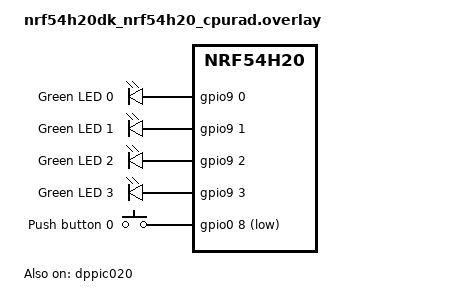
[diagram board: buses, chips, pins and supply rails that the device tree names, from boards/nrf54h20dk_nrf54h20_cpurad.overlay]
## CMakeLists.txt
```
#
# Copyright (c) 2025 Nordic Semiconductor
#
# SPDX-License-Identifier: LicenseRef-Nordic-5-Clause
#
cmake_minimum_required(VERSION 3.20.0)

find_package(Zephyr REQUIRED HINTS $ENV{ZEPHYR_BASE})
project(esb_prx_ble)

# NORDIC SDK APP START
target_sources(app PRIVATE
  src/main.c
)
# NORDIC SDK APP END
```

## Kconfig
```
#
# Copyright (c) 2025 Nordic Semiconductor
#
# SPDX-License-Identifier: LicenseRef-Nordic-5-Clause
#

menu "Enhanced ShockBurst: Receiver with BLE"

module = ESB_PRX_BLE
module-str = "ESB_PRX_BLE"
source "$(ZEPHYR_BASE)/subsys/logging/Kconfig.template.log_config"

endmenu

source "Kconfig.zephyr"
```

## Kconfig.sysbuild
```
#
# Copyright (c) 2025 Nordic Semiconductor ASA
#
# SPDX-License-Identifier: LicenseRef-Nordic-5-Clause
#

config NRF_DEFAULT_EMPTY
	default y if SOC_SERIES_NRF53

source "share/sysbuild/Kconfig"
```

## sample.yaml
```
sample:
  name: ESB prx BLE Sample
common:
  harness: console
  harness_config:
    type: multi_line
    ordered: true
    regex:
      - "Starting Enhanced ShockBurst prx with Peripheral LBS sample"
      - "Bluetooth initialized"
      - "Advertising successfully started"
      - "ESB initialized"
  timeout: 15

tests:
  sample.esb.prx.ble.build:
    sysbuild: true
    integration_platforms:
      - nrf52dk/nrf52832
      - nrf52833dk/nrf52833
      - nrf52840dk/nrf52840
      - nrf54h20dk/nrf54h20/cpurad
      - nrf54l15dk/nrf54l05/cpuapp
      - nrf54l15dk/nrf54l10/cpuapp
      - nrf54l15dk/nrf54l15/cpuapp
      - nrf54lm20dk/nrf54lm20a/cpuapp
      - nrf54ls05dk/nrf54ls05a/cpuapp
      - nrf54lc10dk/nrf54lc10a/cpuapp
    platform_allow:
      - nrf52dk/nrf52832
      - nrf52833dk/nrf52833
      - nrf52840dk/nrf52840
      - nrf54h20dk/nrf54h20/cpurad
      - nrf54l15dk/nrf54l05/cpuapp
      - nrf54l15dk/nrf54l10/cpuapp
      - nrf54l15dk/nrf54l15/cpuapp
      - nrf54lm20dk/nrf54lm20a/cpuapp
      - nrf54lm20dk/nrf54lm20b/cpuapp
      - nrf54ls05dk/nrf54ls05a/cpuapp
      - nrf54ls05dk/nrf54ls05b/cpuapp
      - nrf54lc10dk/nrf54lc10a/cpuapp
      - nrf54lc10dk/nrf54lc10a/cpuapp/ns
    tags:
      - esb
      - ci_build
      - sysbuild
      - ci_samples_esb
```

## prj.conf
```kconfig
#
# Copyright (c) 2025 Nordic Semiconductor ASA
#
# SPDX-License-Identifier: LicenseRef-Nordic-5-Clause
#
CONFIG_NCS_SAMPLES_DEFAULTS=y
CONFIG_ESB=y
CONFIG_DK_LIBRARY=y
CONFIG_CLOCK_CONTROL=y
CONFIG_ESB_CLOCK_INIT=y

CONFIG_ESB_MPSL_TIMESLOT=y
CONFIG_MPSL_TIMESLOT_SESSION_COUNT=2

CONFIG_BT=y
CONFIG_BT_PERIPHERAL=y
CONFIG_BT_DEVICE_NAME="Nordic_LBS"

# Enable the LBS service
CONFIG_BT_LBS=y
CONFIG_BT_LBS_POLL_BUTTON=y
CONFIG_BT_GATT_CLIENT=y
CONFIG_SYSTEM_WORKQUEUE_STACK_SIZE=2048

# Bluetooth LE configuration
# Adjust connection parameters to your needs
CONFIG_BT_PERIPHERAL_PREF_MIN_INT=800
CONFIG_BT_PERIPHERAL_PREF_MAX_INT=800
CONFIG_BT_PERIPHERAL_PREF_LATENCY=0
CONFIG_BT_PERIPHERAL_PREF_TIMEOUT=400

# Enable DEBUG level logging
CONFIG_ESB_PRX_BLE_LOG_LEVEL_DBG=y
```

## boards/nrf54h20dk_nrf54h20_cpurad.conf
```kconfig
#
# Copyright (c) 2025 Nordic Semiconductor
#
# SPDX-License-Identifier: LicenseRef-Nordic-5-Clause
#

# Disable legacy GPPI as it does not support channel allocation
```

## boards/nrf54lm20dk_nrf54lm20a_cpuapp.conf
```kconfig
#
# Copyright (c) 2025 Nordic Semiconductor
#
# SPDX-License-Identifier: LicenseRef-Nordic-5-Clause
#

# Enable DPPI driver
CONFIG_NRFX_DPPI10=y
```

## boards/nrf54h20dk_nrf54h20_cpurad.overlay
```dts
/*
 * Copyright (c) 2025 Nordic Semiconductor ASA
 *
 * SPDX-License-Identifier: LicenseRef-Nordic-5-Clause
 */

/ {
	leds {
		compatible = "gpio-leds";

		led0: led_0 {
			gpios = <&gpio9 0 GPIO_ACTIVE_HIGH>;
			label = "Green LED 0";
		};

		led1: led_1 {
			gpios = <&gpio9 1 GPIO_ACTIVE_HIGH>;
			label = "Green LED 1";
		};

		led2: led_2 {
			gpios = <&gpio9 2 GPIO_ACTIVE_HIGH>;
			label = "Green LED 2";
		};

		led3: led_3 {
			gpios = <&gpio9 3 GPIO_ACTIVE_HIGH>;
			label = "Green LED 3";
		};
	};

	buttons {
		compatible = "gpio-keys";

		button0: button_0 {
			gpios = <&gpio0 8 (GPIO_PULL_UP | GPIO_ACTIVE_LOW)>;
			label = "Push button 0";
			zephyr,code = <INPUT_KEY_0>;
		};
	};

	aliases {
		led0 = &led0;
		led1 = &led1;
		led2 = &led2;
		led3 = &led3;

		sw0 = &button0;
	};

	cpurad_cpusys_errata216_mboxes: errata216_mboxes {
		compatible = "zephyr,mbox-ipm";
		status = "okay";
		mboxes = <&cpusys_vevif 0x14>, <&cpusys_vevif 0x15>;
		mbox-names = "on_req", "off_req";
	};
};

&gpio9 {
	status = "okay";
};

&gpio0 {
	status = "okay";
};

&gpiote130 {
	owned-channels = <0 1 2 3 4 5 6 7>;
	status = "okay";
};

&dppic020 {
	status = "okay";
	source-channels = <0 1 2 3 4 5>;
	sink-channels = <6 7 8 9 10 11>;
};
```

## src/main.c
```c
/*
 * Copyright (c) 2025 Nordic Semiconductor ASA
 *
 * SPDX-License-Identifier: LicenseRef-Nordic-5-Clause
 */

#include <zephyr/bluetooth/bluetooth.h>
#include <zephyr/bluetooth/conn.h>
#include <zephyr/bluetooth/gatt.h>
#include <zephyr/bluetooth/hci.h>
#include <zephyr/kernel.h>
#include <zephyr/logging/log.h>

#include <bluetooth/services/lbs.h>
#include <dk_buttons_and_leds.h>
#include <esb.h>

LOG_MODULE_REGISTER(esb_prx_ble, CONFIG_ESB_PRX_BLE_LOG_LEVEL);

#define DEVICE_NAME             CONFIG_BT_DEVICE_NAME
#define DEVICE_NAME_LEN         (sizeof(DEVICE_NAME) - 1)

#define CON_STATUS_LED          DK_LED1
#define USER_LED                DK_LED2
#define ESB_LED_1               DK_LED3
#define ESB_LED_2               DK_LED4
#define USER_BUTTON             DK_BTN1_MSK

static bool app_button_state;
static struct k_work adv_work;

static struct esb_payload rx_payload;
static struct esb_payload tx_payload = ESB_CREATE_PAYLOAD(0,
	0x10, 0x11, 0x12, 0x13, 0x14, 0x15, 0x16, 0x17);

static const struct bt_data ad[] = {
	BT_DATA_BYTES(BT_DATA_FLAGS, (BT_LE_AD_GENERAL | BT_LE_AD_NO_BREDR)),
	BT_DATA(BT_DATA_NAME_COMPLETE, DEVICE_NAME, DEVICE_NAME_LEN),
};

static const struct bt_data sd[] = {
	BT_DATA_BYTES(BT_DATA_UUID128_ALL, BT_UUID_LBS_VAL),
};

static void adv_work_handler(struct k_work *work)
{
	int err = bt_le_adv_start(BT_LE_ADV_CONN_FAST_2, ad, ARRAY_SIZE(ad), sd, ARRAY_SIZE(sd));

	if (err) {
		LOG_ERR("Advertising failed to start (err %d)", err);
		return;
	}

	LOG_INF("Advertising successfully started");
}

static void advertising_start(void)
{
	k_work_submit(&adv_work);
}

static void connected(struct bt_conn *conn, uint8_t err)
{
	if (err) {
		LOG_ERR("Connection failed, err 0x%02x %s", err, bt_hci_err_to_str(err));
		return;
	}

	LOG_INF("Connected");

	dk_set_led_on(CON_STATUS_LED);
}

static void disconnected(struct bt_conn *conn, uint8_t reason)
{
	LOG_INF("Disconnected, reason 0x%02x %s", reason, bt_hci_err_to_str(reason));

	dk_set_led_off(CON_STATUS_LED);
}

static void recycled_cb(void)
{
	LOG_INF("Connection object available from previous conn. Disconnect is complete!");
	advertising_start();
}

BT_CONN_CB_DEFINE(conn_callbacks) = {
	.connected        = connected,
	.disconnected     = disconnected,
	.recycled         = recycled_cb,
};

static void app_led_cb(bool led_state)
{
	dk_set_led(USER_LED, led_state);
}

static bool app_button_cb(void)
{
	return app_button_state;
}

static struct bt_lbs_cb lbs_callbacks = {
	.led_cb    = app_led_cb,
	.button_cb = app_button_cb,
};

static void button_changed(uint32_t button_state, uint32_t has_changed)
{
	if (has_changed & USER_BUTTON) {
		uint32_t user_button_state = button_state & USER_BUTTON;

		bt_lbs_send_button_state(user_button_state);
		app_button_state = user_button_state ? true : false;
	}
}

static void leds_update(uint8_t value)
{
	const bool led1_state = !(value % 8 > 2 && value % 8 <= 6);
	const bool led2_state = !(value % 8 > 3);

	dk_set_led(ESB_LED_1, led1_state);
	dk_set_led(ESB_LED_2, led2_state);
}

void event_handler(struct esb_evt const *event)
{
	int err;

	switch (event->evt_id) {
	case ESB_EVENT_TX_SUCCESS:
		LOG_DBG("TX SUCCESS EVENT");
		break;
	case ESB_EVENT_TX_FAILED:
		LOG_DBG("TX FAILED EVENT");
		break;
	case ESB_EVENT_RX_RECEIVED:
		while ((err = esb_read_rx_payload(&rx_payload)) == 0) {
			LOG_DBG("Packet received, len %d : "
				"0x%02x, 0x%02x, 0x%02x, 0x%02x, "
				"0x%02x, 0x%02x, 0x%02x, 0x%02x",
				rx_payload.length, rx_payload.data[0],
				rx_payload.data[1], rx_payload.data[2],
				rx_payload.data[3], rx_payload.data[4],
				rx_payload.data[5], rx_payload.data[6],
				rx_payload.data[7]);

			leds_update(rx_payload.data[1]);
		}
		if (err && err != -ENODATA) {
			LOG_ERR("Error while reading rx packet");
		}
		break;
	case ESB_EVENT_TIMESLOT_FAILED:
		LOG_ERR("TIMESLOT FAILED EVENT");
		break;
	}
}

int esb_initialize(void)
{
	int err;
	/* These are arbitrary default addresses. In end user products
	 * different addresses should be used for each set of devices.
	 */
	const uint8_t base_addr_0[4] = {0xE7, 0xE7, 0xE7, 0xE7};
	const uint8_t base_addr_1[4] = {0xC2, 0xC2, 0xC2, 0xC2};
	const uint8_t addr_prefix[8] = {0xE7, 0xC2, 0xC3, 0xC4, 0xC5, 0xC6, 0xC7, 0xC8};

	struct esb_config config = ESB_DEFAULT_CONFIG;

	config.protocol = ESB_PROTOCOL_ESB_DPL;
	config.bitrate = ESB_BITRATE_2MBPS;
	config.mode = ESB_MODE_PRX;
	config.event_handler = event_handler;
	config.selective_auto_ack = true;
	if (IS_ENABLED(CONFIG_ESB_FAST_SWITCHING)) {
		config.use_fast_ramp_up = true;
	}

	err = esb_init(&config);
	if (err) {
		return err;
	}

	err = esb_set_base_address_0(base_addr_0);
	if (err) {
		return err;
	}

	err = esb_set_base_address_1(base_addr_1);
	if (err) {
		return err;
	}

	err = esb_set_prefixes(addr_prefix, ARRAY_SIZE(addr_prefix));
	if (err) {
		return err;
	}

	return 0;
}

int main(void)
{
	int err;

	LOG_INF("Starting Enhanced ShockBurst prx with Peripheral LBS sample");

	err = dk_leds_init();
	if (err) {
		LOG_ERR("LEDs init failed (err %d)", err);
		return 0;
	}

	err = dk_buttons_init(button_changed);
	if (err) {
		LOG_ERR("Cannot init buttons (err: %d)", err);
	}

	err = bt_enable(NULL);
	if (err) {
		LOG_ERR("Bluetooth init failed (err %d)", err);
		return 0;
	}

	LOG_INF("Bluetooth initialized");

	err = bt_lbs_init(&lbs_callbacks);
	if (err) {
		LOG_ERR("Failed to init LBS (err:%d)", err);
		return 0;
	}

	k_work_init(&adv_work, adv_work_handler);
	advertising_start();

	err = esb_initialize();
	if (err) {
		LOG_ERR("ESB initialization failed, err %d", err);
		return 0;
	}

	LOG_INF("ESB initialized");

	err = esb_write_payload(&tx_payload);
	if (err) {
		LOG_ERR("Write payload, err %d", err);
		return 0;
	}

	LOG_INF("Setting up for packet reception");

	err = esb_start_rx();
	if (err) {
		LOG_ERR("RX setup failed, err %d", err);
		return 0;
	}

	LOG_INF("Initialization complete");

	return 0;
}
```
